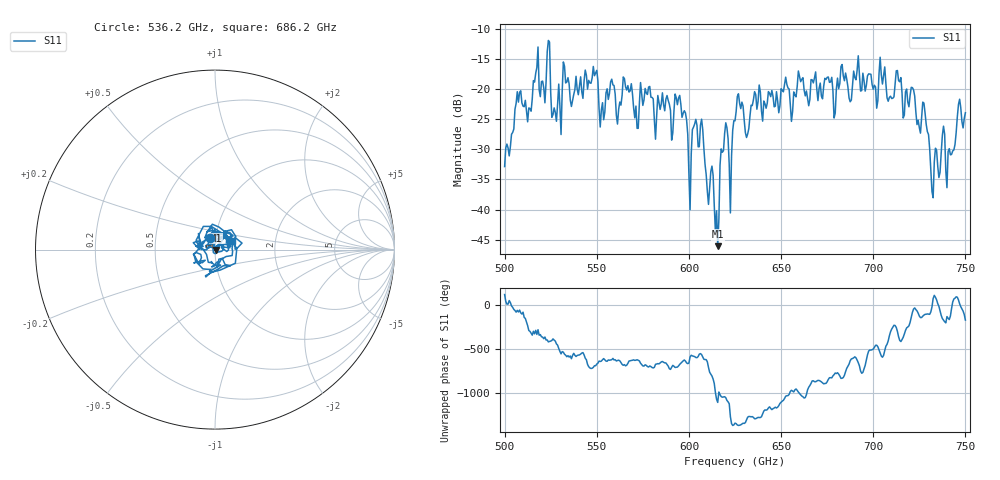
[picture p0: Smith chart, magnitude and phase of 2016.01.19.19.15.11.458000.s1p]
!Created with skrf (http://scikit-rf.org).
# GHz S RI R 50.0
!freq ReS11 ImS11
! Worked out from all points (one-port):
!   401 points, 500 GHz to 750 GHz, reference 50 ohm
!   lowest |S11| = -46.1 dB at 615.6 GHz (marker M1), VSWR 1.01, Z = 50.5 - j0.174 ohm
!   |S11| at or under -10 dB: start of sweep to end of sweep
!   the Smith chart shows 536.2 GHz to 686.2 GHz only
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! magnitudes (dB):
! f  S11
! 500 GHz  -32.9
! 507.5 GHz  -22.1
! 513.8 GHz  -23.2
! 516.9 GHz  -17.3
! 520.6 GHz  -18.6
! 523.8 GHz  -11.9
! 526.9 GHz  -23.1
! 531.2 GHz  -20.3
! 548.8 GHz  -17.7
! 552.5 GHz  -23.4
! 558.1 GHz  -18.3
! 562.5 GHz  -22.1
! 593.8 GHz  -22.6
! 600.6 GHz  -40.0
! 603.1 GHz  -25.8
! 606.9 GHz  -25.0
! 615.6 GHz  -46.1
! 618.8 GHz  -30.2
! 622.5 GHz  -40.6
! 625 GHz  -25.2
! 656.2 GHz  -23.7
! 660.6 GHz  -18.7
! 687.5 GHz  -22.1
! 705 GHz  -19.1
! 718.8 GHz  -22.1
! 728.1 GHz  -24.0
! 731.9 GHz  -37.0
! 750 GHz  -23.9
